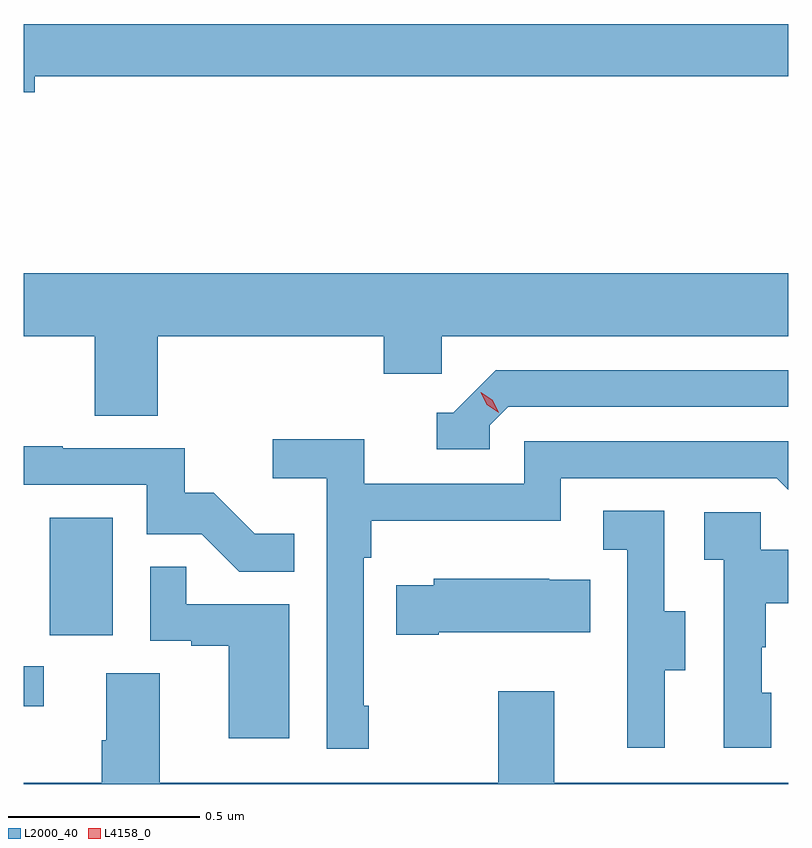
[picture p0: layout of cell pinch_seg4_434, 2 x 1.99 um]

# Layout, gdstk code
import gdstk
lib = gdstk.Library(unit=1e-6, precision=1e-09)
def R(c, l, rs):  # rectangles x0, y0, x1, y1
    for r in rs: c.add(gdstk.rectangle(r[:2], r[2:], *l))
def P(c, l, *ps):  # polygons
    for p in ps: c.add(gdstk.Polygon(p, *l))
L2000_40 = (2000, 40)
L4158_0 = (4158, 0)

pinch_seg4_434 = lib.new_cell('pinch_seg4_434')
R(pinch_seg4_434, L2000_40, [(899.849,771.876,899.902,771.981), (899.918,772.062,900.082,772.369)])
P(pinch_seg4_434, L2000_40, [(899.878,773.524),(901.849,773.524),(901.849,773.66),(899.849,773.66),(899.849,773.482),(899.878,773.482)],
  [(900.2,772.844),(900.791,772.844),(900.791,772.746),(900.942,772.746),(900.942,772.844),(901.849,772.844),(901.849,773.008),(899.849,773.008),(899.849,772.844),(900.035,772.844),(900.035,772.636),(900.2,772.636)],
  [(901.068,772.611),(901.116,772.659),(901.849,772.659),(901.849,772.755),(901.083,772.755),(900.972,772.644),(900.929,772.644),(900.929,772.548),(901.068,772.548)],
  [(900.751,771.877),(900.738,771.877),(900.738,772.265),(900.758,772.265),(900.758,772.361),(901.254,772.361),(901.254,772.473),(901.818,772.473),(901.849,772.442),(901.849,772.569),(901.158,772.569),(901.158,772.458),(900.74,772.458),(900.74,772.574),(900.501,772.574),(900.501,772.472),(900.642,772.472),(900.642,771.765),(900.751,771.765)],
  [(900.557,772.327),(900.453,772.327),(900.346,772.434),(900.27,772.434),(900.27,772.551),(899.951,772.551),(899.951,772.556),(899.849,772.556),(899.849,772.455),(900.171,772.455),(900.171,772.326),(900.315,772.326),(900.413,772.228),(900.557,772.228)],
  [(901.525,771.97),(901.579,771.97),(901.579,772.125),(901.524,772.125),(901.524,772.388),(901.365,772.388),(901.365,772.285),(901.428,772.285),(901.428,771.981),(901.427,771.981),(901.427,771.768),(901.525,771.768)],
  [(901.804,771.912),(901.779,771.912),(901.779,772.031),(901.789,772.031),(901.789,772.145),(901.849,772.145),(901.849,772.285),(901.776,772.285),(901.776,772.383),(901.629,772.383),(901.629,772.259),(901.68,772.259),(901.68,771.768),(901.804,771.768)],
  [(900.544,772.143),(900.275,772.143),(900.275,772.241),(900.18,772.241),(900.18,772.047),(900.287,772.047),(900.287,772.035),(900.386,772.035),(900.386,771.792),(900.544,771.792)],
  [(900.934,772.07),(901.331,772.07),(901.331,772.207),(901.223,772.207),(901.223,772.21),(900.921,772.21),(900.921,772.192),(900.823,772.192),(900.823,772.063),(900.934,772.063)],
  [(901.849,771.676),(901.237,771.676),(901.237,771.916),(901.09,771.916),(901.09,771.676),(900.205,771.676),(900.205,771.962),(900.065,771.962),(900.065,771.788),(900.053,771.788),(900.053,771.676),(899.849,771.676),(899.849,771.673),(901.849,771.673)])
P(pinch_seg4_434, L4158_0, [(901.091,772.644),(901.06,772.664),(901.044,772.696),(901.044,772.697),(901.045,772.697),(901.075,772.677),(901.091,772.645),(901.091,772.644)])

lib.write_gds('pinch_seg4_434.gds')
